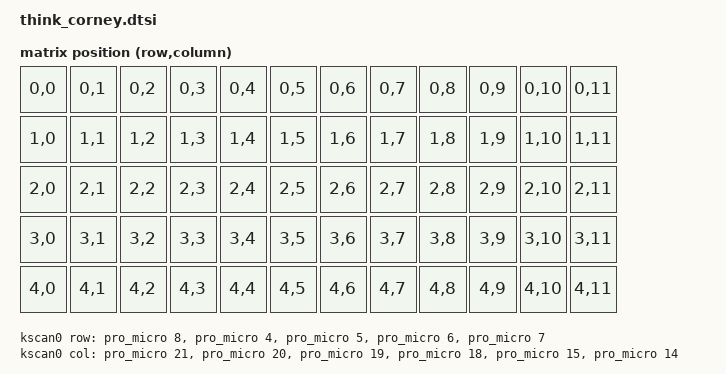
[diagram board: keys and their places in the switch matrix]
#include <dt-bindings/gpio/gpio.h>
#include <dt-bindings/zmk/matrix_transform.h>

/ {
  chosen {
    zmk,kscan = &kscan0;
    zmk,matrix_transform = &default_transform;
  };

  default_transform: keymap_transform {
    compatible = "zmk,matrix-transform";
    columns = <12>;
    rows = <5>;

    /* Пока прямоугольная 5x6.
       Если у тебя реально меньше клавиш (Corne-style),
       потом заменишь map на нужные позиции. */
    map = <
      RC(0,0) RC(0,1) RC(0,2) RC(0,3) RC(0,4) RC(0,5) RC(0,6) RC(0,7) RC(0,8) RC(0,9) RC(0,10) RC(0,11)
      RC(1,0) RC(1,1) RC(1,2) RC(1,3) RC(1,4) RC(1,5) RC(1,6) RC(1,7) RC(1,8) RC(1,9) RC(1,10) RC(1,11)
      RC(2,0) RC(2,1) RC(2,2) RC(2,3) RC(2,4) RC(2,5) RC(2,6) RC(2,7) RC(2,8) RC(2,9) RC(2,10) RC(2,11)
      RC(3,0) RC(3,1) RC(3,2) RC(3,3) RC(3,4) RC(3,5) RC(3,6) RC(3,7) RC(3,8) RC(3,9) RC(3,10) RC(3,11)
      RC(4,0) RC(4,1) RC(4,2) RC(4,3) RC(4,4) RC(4,5) RC(4,6) RC(4,7) RC(4,8) RC(4,9) RC(4,10) RC(4,11)
    >;
  };

  kscan0: kscan0 {
    compatible = "zmk,kscan-gpio-matrix";
    diode-direction = "col2row";

    /* R0=P8, R1=P4, R2=P5, R3=P6, R4=P7 */
    row-gpios = <
      &pro_micro 8 GPIO_ACTIVE_HIGH
      &pro_micro 4 GPIO_ACTIVE_HIGH
      &pro_micro 5 GPIO_ACTIVE_HIGH
      &pro_micro 6 GPIO_ACTIVE_HIGH
      &pro_micro 7 GPIO_ACTIVE_HIGH
    >;

    /* C0=P21, C1=P20, C2=P19, C3=P18, C4=P15, C5=P14 */
    col-gpios = <
      &pro_micro 21 GPIO_ACTIVE_HIGH
      &pro_micro 20 GPIO_ACTIVE_HIGH
      &pro_micro 19 GPIO_ACTIVE_HIGH
      &pro_micro 18 GPIO_ACTIVE_HIGH
      &pro_micro 15 GPIO_ACTIVE_HIGH
      &pro_micro 14 GPIO_ACTIVE_HIGH
    >;
  };
};
